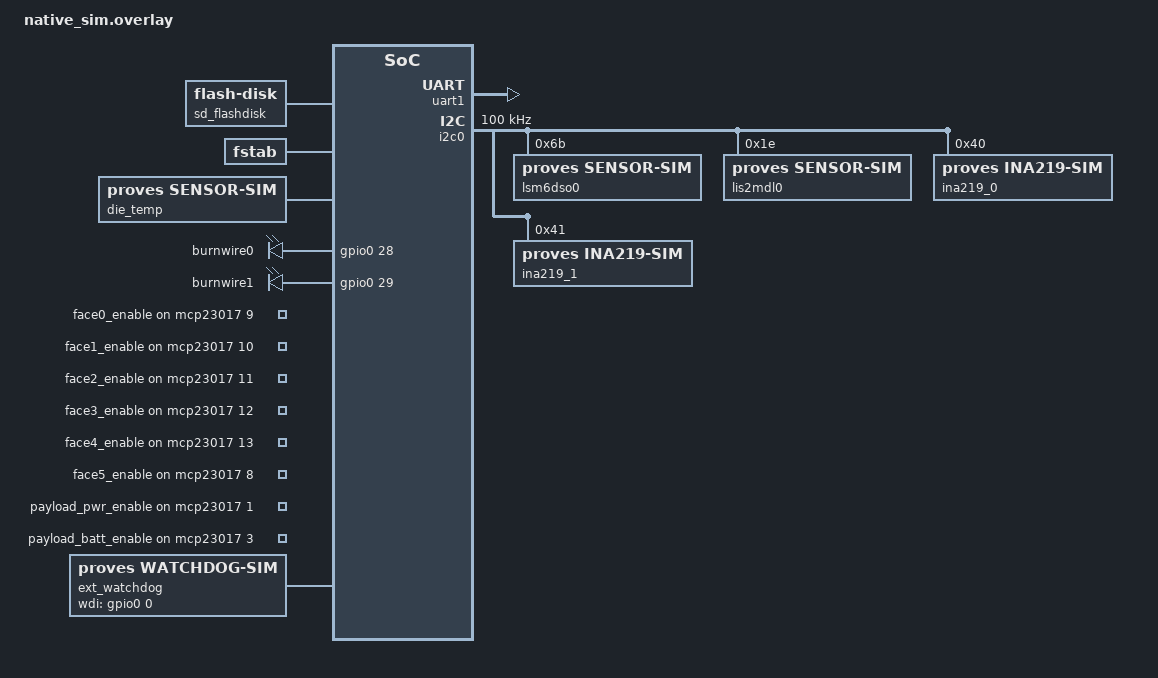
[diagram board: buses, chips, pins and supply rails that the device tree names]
/*
 * Software-in-the-loop board for the ReferenceDeployment (sim/README.md).
 * Recreates the node labels that Main.cpp and the topology use, on Zephyr's
 * emulated buses and sim devices. The face mux is the flight board's own dtsi.
 */
#include <zephyr/dt-bindings/gpio/gpio.h>

/delete-node/ &flashcontroller0;

/ {
	chosen {
		zephyr,flash = &flash0;
		zephyr,flash-controller = &flashcontroller0;
		zephyr,code-partition = &slot0_partition;
	};

	flashcontroller0: flash-controller@0 {
		compatible = "zephyr,sim-flash";
		reg = <0x00000000 DT_SIZE_M(16)>;
		#address-cells = <1>;
		#size-cells = <1>;
		erase-value = <0xff>;

		flash0: flash@0 {
			status = "okay";
			compatible = "soc-nv-flash";
			erase-block-size = <4096>;
			write-block-size = <1>;
			reg = <0x00000000 DT_SIZE_M(16)>;

			partitions {
				compatible = "fixed-partitions";
				#address-cells = <1>;
				#size-cells = <1>;

				boot_partition: partition@0 {
					label = "mcuboot";
					reg = <0x0 0x100000>;
				};
				slot0_partition: partition@100000 {
					label = "image-0";
					reg = <0x100000 0x100000>;
				};
				slot1_partition: partition@200000 {
					label = "image-1";
					reg = <0x200000 0x100000>;
				};
				slot2_partition: partition@300000 {
					label = "image-2";
					reg = <0x300000 0x100000>;
				};
				storage_partition: partition@400000 {
					label = "storage_partition";
					reg = <0x400000 0xC00000>;
				};
			};
		};
	};

	/* FAT volume "SD" on the sim-flash storage partition (replaces the SPI SD card). */
	sd_flashdisk: sd_flashdisk {
		compatible = "zephyr,flash-disk";
		partition = <&storage_partition>;
		disk-name = "SD";
		cache-size = <4096>;
	};

	fstab {
		compatible = "zephyr,fstab";
		ffs1: ffs1 {
			compatible = "zephyr,fstab,fatfs";
			automount;
			disk-access;
			mount-point = "/";
		};
	};

	/* F' comms need a pty of their own: on a shared pty, the payload UART driver's IRQ callback takes RX. */
	cdc_acm_uart0: uart_2 {
		status = "okay";
		compatible = "zephyr,native-pty-uart";
		current-speed = <0>;
	};

	/* The RP2350 die sensor, at room temperature. */
	die_temp: die_temp {
		compatible = "proves,sensor-sim";
		sim-file = "die_temp.txt";
		die-temp = <25000000>;
	};

	sim_leds {
		compatible = "gpio-leds";
		burnwire0: burnwire0 { gpios = <&gpio0 28 GPIO_ACTIVE_HIGH>; };
		burnwire1: burnwire1 { gpios = <&gpio0 29 GPIO_ACTIVE_HIGH>; };
		face0_enable: face0-enable { gpios = <&mcp23017 9 GPIO_ACTIVE_HIGH>; };
		face1_enable: face1-enable { gpios = <&mcp23017 10 GPIO_ACTIVE_HIGH>; };
		face2_enable: face2-enable { gpios = <&mcp23017 11 GPIO_ACTIVE_HIGH>; };
		face3_enable: face3-enable { gpios = <&mcp23017 12 GPIO_ACTIVE_HIGH>; };
		face4_enable: face4-enable { gpios = <&mcp23017 13 GPIO_ACTIVE_HIGH>; };
		face5_enable: face5-enable { gpios = <&mcp23017 8 GPIO_ACTIVE_HIGH>; };
		payload_pwr_enable: payload-pwr-enable { gpios = <&mcp23017 1 GPIO_ACTIVE_HIGH>; };
		payload_batt_enable: payload-batt-enable { gpios = <&mcp23017 3 GPIO_ACTIVE_HIGH>; };
	};

	/* The flight board's MCP23017, at the same pin numbers. */
	mcp23017: mcp23017_sim {
		compatible = "proves,gpio-latch-sim";
		gpio-controller;
		#gpio-cells = <2>;
		ngpios = <16>;
	};

	/* The external watchdog behind JP6, on the pin the Watchdog component toggles (led0). The
	 * timeout is the ~30 s that watchdog_test::test_03 expects; it is not measured on hardware. */
	ext_watchdog: ext_watchdog {
		compatible = "proves,watchdog-sim";
		wdi-gpios = <&gpio0 0 GPIO_ACTIVE_HIGH>;
		timeout-ms = <30000>;
	};

	lora0: lora_sim {
		compatible = "proves,lora-sim";
	};
};

&uart1 {
	status = "okay";
};

rtc0: &rtc {
	compatible = "proves,rtc-sim";
	alarms-count = <1>;
};

&i2c0 {
	clock-frequency = <100000>;

	/* At rest on a desk: 1 g on Z and a gyro bias of about 0.1 deg/s, as a real part has. */
	lsm6dso0: lsm6dso0@6b {
		compatible = "proves,sensor-sim";
		reg = <0x6b>;
		sim-file = "lsm6dso.txt";
		accel = <0 0 9806650>;
		gyro = <1745 873 524>;
		die-temp = <25000000>;
	};

	/* Roughly the Earth's field at mid latitude. */
	lis2mdl0: lis2mdl0@1e {
		compatible = "proves,sensor-sim";
		reg = <0x1e>;
		sim-file = "lis2mdl.txt";
		magn = <200000 0 400000>;
	};

	ina219_0: ina219_0@40 {
		compatible = "proves,ina219-sim";
		reg = <0x40>;
		sim-file = "ina219_sys.txt";
		default-millivolts = <8200>;
		default-milliamps = <300>;
	};

	ina219_1: ina219_1@41 {
		compatible = "proves,ina219-sim";
		reg = <0x41>;
		sim-file = "ina219_sol.txt";
		default-millivolts = <0>;
		default-milliamps = <0>;
	};

	#include "bronco_space/proves_flight_control_board_v5/proves_face_mux.dtsi"
};
